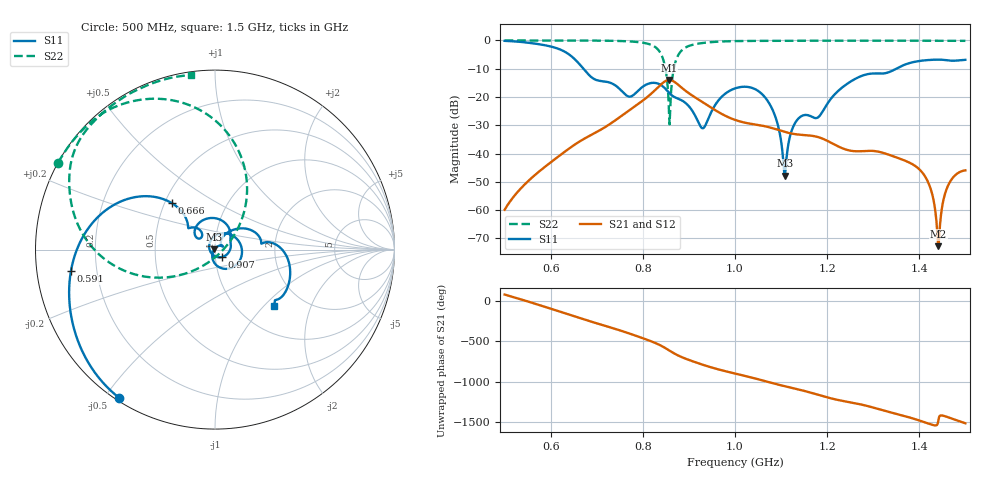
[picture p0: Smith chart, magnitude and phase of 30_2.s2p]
! TOUCHSTONE file generated by CST MICROWAVE STUDIO
! Date and time: Fri Oct  2 16:20:23 2020
! Project name: Scenario_1_Free_Space_out_of_line.cst
! Parameters = {Lambda=346.42; Step_1=17.321; dy1=-155.249; dx1=346; L_HA=400; MT=2.54; Rad_Dielectric=30; Rad_Lower=7.3; Rad_Upper=30; a_HA=580; a_WG=246; b_HA=500; b_WG=121; c_HA=0; c_WG=187; d_feed=85; h_feed=15; h_lower=18; h_upper=40}
! Header version: 2018
! Port assignment regex: !\s*Touchstone port\s*([0-9]+)\s*=\s*(CST MWS port|CST DS port)\s*([0-9]+|Zmin|Zmax)\s*\(\"(.*)\"\)(\s*mode\s*([0-9]+))?.*
! Touchstone port assignment:
! Touchstone port 1 = CST MWS port 1 ("")
! Touchstone port 2 = CST MWS port 2 ("")
# GHz S DB R 50
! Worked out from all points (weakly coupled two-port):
!   1003 points, 500 MHz to 1.5 GHz, reference 50 ohm
!   highest |S21| = -13.98 dB at 857 MHz (marker M1); lowest = -72.7 dB at 1.441 GHz (marker M2)
!   lowest |S11| = -47.8 dB at 1.108 GHz (marker M3), VSWR 1.01, Z = 49.7 + j0.253 ohm
!   |S11| at or under -10 dB: 671 MHz to 1.35 GHz (678.7 MHz wide, 67.2 % of centre)
!   |S22| runs from -29.7 to 0.0 dB; largest |S21 - S12| = 5.7e-05
!   S11 on the Smith chart (normalised r, x): 500 MHz: 0.01, -0.55; 591 MHz: 0.10, -0.07; 666 MHz: 0.55, +0.32; 907 MHz: 1.08, -0.09; 1.5 GHz: 1.43, -1.14
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0.5  -0.14 -122.8  -59.86 75.6  -59.86 75.6  -0.01 151.1
0.591  -1.81 -171.5  -44.23 -82.3  -44.23 -82.3  -0.02 144.7
0.666  -9.04 132.9  -35.39 141.2  -35.39 141.2  -0.04 138.3
0.667  -9.23 132.5  -35.29 139.4  -35.29 139.4  -0.04 138.2
0.769  -19.81 136.4  -24.87 -41.5  -24.87 -41.5  -0.33 123.0
0.834  -15.32 83.5  -16.38 -179.5  -16.38 -179.5  -3.44 85.6
0.857  -18.53 43.2  -13.98 107.0  -13.98 107.0  -26.42 2.0
0.875  -20.47 22.1  -15.43 48.6  -15.43 48.6  -5.77 -166.6
0.907  -24.78 -45.4  -19.45 -25.2  -19.45 -25.2  -1.59 163.2
0.931  -30.99 -157.8  -21.96 -71.8  -21.96 -71.8  -0.88 154.0
1  -16.95 16.5  -28.08 -178.7  -28.08 -178.7  -0.24 140.2
1.071  -21.40 -86.3  -30.56 79.2  -30.56 79.2  -0.14 132.1
1.092  -29.27 -116.4  -31.55 47.5  -31.55 47.5  -0.13 130.2
1.108  -47.81 141.3  -32.34 25.0  -32.34 25.0  -0.12 128.8
1.131  -29.01 39.1  -33.14 -5.8  -33.14 -5.8  -0.11 126.9
1.167  -27.00 22.3  -33.70 -58.6  -33.70 -58.6  -0.10 124.0
1.256  -14.03 36.5  -39.09 -180.0  -39.09 -180.0  -0.09 117.2
1.334  -11.22 8.1  -40.40 68.1  -40.40 68.1  -0.09 111.3
1.411  -7.05 -19.7  -47.69 -58.6  -47.71 -58.6  -0.10 105.2
1.441  -6.79 -31.9  -72.72 -47.6  -72.66 -46.8  -0.12 102.7
1.463  -7.06 -39.0  -51.09 1.5  -51.08 1.5  -0.13 100.9
1.5  -6.85 -44.2  -45.91 -72.0  -45.94 -72.6  -0.15 97.7
